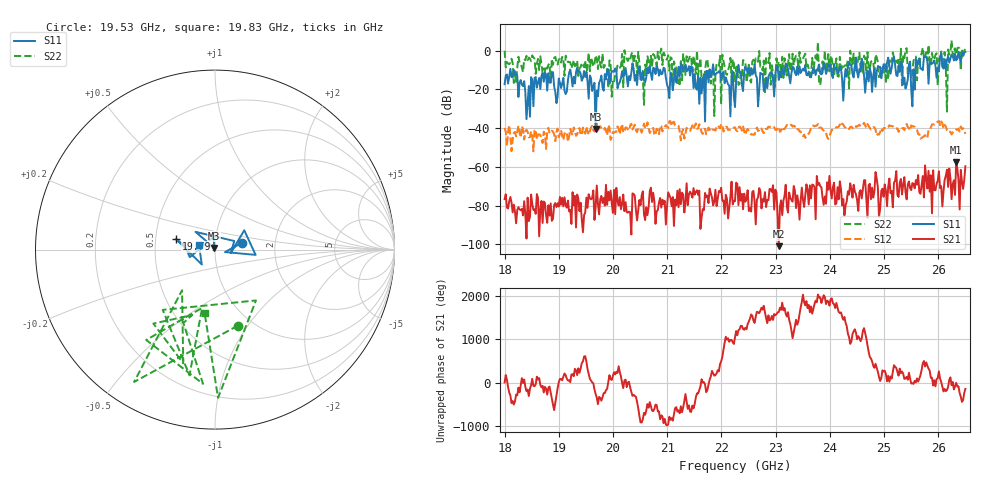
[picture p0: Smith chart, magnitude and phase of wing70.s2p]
!Keysight Technologies,N5242B,MY47200105,A.14.00.23
!Date: Friday, May 10, 2024 11:01:47
!Correction: S11(C  2-Port  )
!S21(C  2-Port  )
!S12(C  2-Port  )
!S22(C  2-Port  )
!S2P File: Measurement: :
# Hz S  RI  R 50
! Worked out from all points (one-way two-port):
!   401 points, 18 GHz to 26.5 GHz, reference 50 ohm
!   highest |S21| = -57.78 dB at 26.33 GHz (marker M1); lowest = -101.0 dB at 23.06 GHz (marker M2)
!   lowest |S11| = -40.5 dB at 19.68 GHz (marker M3), VSWR 1.02, Z = 49.6 + j0.868 ohm
!   |S11| at or under -10 dB: 18.11 GHz to 19.21 GHz (1.1 GHz wide, 5.9 % of centre); 19.35 GHz to 19.9 GHz (549.9 MHz wide, 2.8 % of centre); 21.86 GHz to 22.3 GHz (437.9 MHz wide, 1.98 % of centre) (the widest 3 of 61)
!   |S22| runs from -33.8 to 5.2 dB; largest |S21 - S12| = 0.016
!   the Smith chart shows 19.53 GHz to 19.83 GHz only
!   S11 on the Smith chart (normalised r, x): 19.53 GHz: 1.35, +0.10; 19.79 GHz: 0.64, +0.08; 19.83 GHz: 0.84, +0.04
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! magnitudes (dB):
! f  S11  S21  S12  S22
! 18 GHz  -17.4  -76.7  -40.0  -0.1
! 18.43 GHz  -27.1  -75.9  -41.9  -4.9
! 18.72 GHz  -16.1  -77.9  -41.9  -9.3
! 19.42 GHz  -15.6  -87.3  -43.6  -6.4
! 19.53 GHz  -16.2  -81.2  -41.7  -7.1
! 19.68 GHz  -40.5  -80.9  -37.2  -2.5
! 19.79 GHz  -12.9  -75.0  -40.0  -8.8
! 19.83 GHz  -20.7  -76.1  -40.9  -8.9
! 20.02 GHz  -11.0  -71.9  -42.4  -16.5
! 20.38 GHz  -9.5  -74.0  -39.6  -6.6
! 20.55 GHz  -10.6  -72.7  -40.3  -13.8
! 20.85 GHz  -13.0  -78.4  -43.1  -4.6
! 21.23 GHz  -13.3  -71.6  -41.7  -18.4
! 21.4 GHz  -8.1  -74.2  -41.3  -4.4
! 21.85 GHz  -7.1  -79.9  -40.9  -8.8
! 22.25 GHz  -29.2  -77.8  -39.7  -16.4
! 23.06 GHz  -15.2  -101.0  -39.5  -5.8
! 23.67 GHz  -11.0  -69.2  -38.7  -3.8
! 25.1 GHz  -8.2  -66.0  -38.6  -5.8
! 25.52 GHz  -28.8  -68.4  -39.2  -10.0
! 26.33 GHz  -5.1  -57.8  -40.6  -4.8
! 26.5 GHz  -0.7  -59.7  -43.0  0.7
